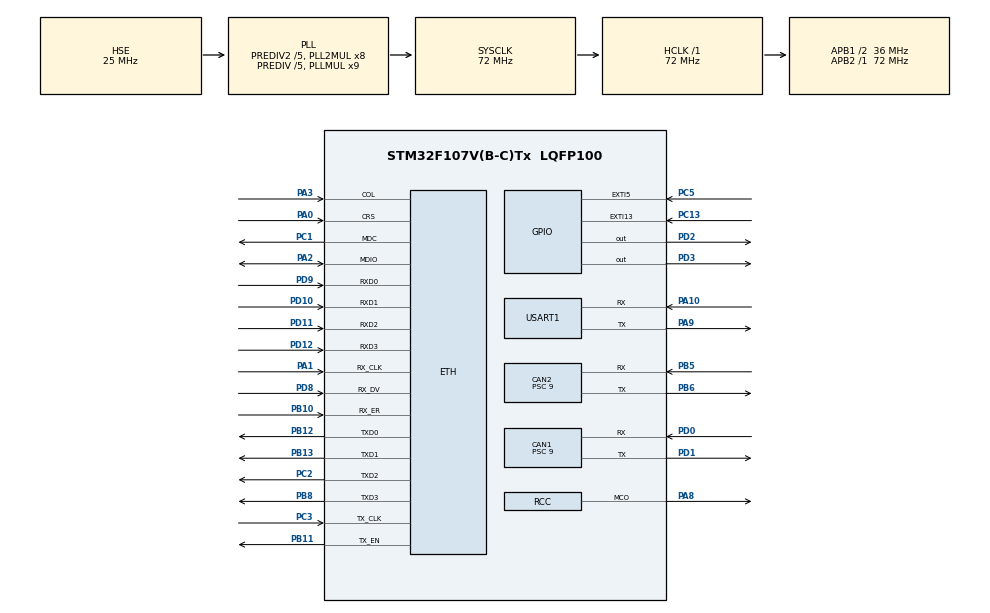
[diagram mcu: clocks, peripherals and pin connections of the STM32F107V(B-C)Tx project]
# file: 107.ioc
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CAN1.BS1=CAN_BS1_3TQ
CAN1.BS2=CAN_BS2_4TQ
CAN1.CalculateTimeBit=2000
CAN1.CalculateTimeQuantum=250.0
CAN1.NART=ENABLE
CAN1.Prescaler=9
CAN2.BS1=CAN_BS1_3TQ
CAN2.BS2=CAN_BS2_4TQ
CAN2.CalculateTimeBit=2000
CAN2.CalculateTimeQuantum=250.0
CAN2.NART=ENABLE
CAN2.Prescaler=9
Dma.Request0=USART1_RX
Dma.Request1=USART1_TX
Dma.USART1_RX.0.Direction=DMA_PERIPH_TO_MEMORY
Dma.USART1_RX.0.Instance=DMA1_Channel5
Dma.USART1_RX.0.MemDataAlignment=DMA_MDATAALIGN_BYTE
Dma.USART1_RX.0.MemInc=DMA_MINC_ENABLE
Dma.USART1_RX.0.Mode=DMA_NORMAL
Dma.USART1_RX.0.PeriphDataAlignment=DMA_PDATAALIGN_BYTE
Dma.USART1_RX.0.PeriphInc=DMA_PINC_DISABLE
Dma.USART1_RX.0.Priority=DMA_PRIORITY_LOW
Dma.USART1_TX.1.Direction=DMA_MEMORY_TO_PERIPH
Dma.USART1_TX.1.Instance=DMA1_Channel4
Dma.USART1_TX.1.MemDataAlignment=DMA_MDATAALIGN_BYTE
Dma.USART1_TX.1.MemInc=DMA_MINC_ENABLE
Dma.USART1_TX.1.Mode=DMA_NORMAL
Dma.USART1_TX.1.PeriphDataAlignment=DMA_PDATAALIGN_BYTE
Dma.USART1_TX.1.PeriphInc=DMA_PINC_DISABLE
Dma.USART1_TX.1.Priority=DMA_PRIORITY_LOW
ETH.MediaInterface=ETH_MEDIA_INTERFACE_MII
ETH.RxMode=ETH_RXPOLLING_MODE
LWIP.GATEWAY_ADDRESS=192.168.001.001
LWIP.IP_ADDRESS=192.168.001.120
LWIP.LWIP_DHCP=0
LWIP.LWIP_NETIF_LINK_CALLBACK=1
LWIP.LWIP_NETIF_LOOPBACK=1
LWIP.LWIP_NETIF_STATUS_CALLBACK=1
LWIP.NETMASK_ADDRESS=255.255.255.000
LWIP.Version=v2.0.0_Cube
Mcu.Family=STM32F1
Mcu.Name=STM32F107V(B-C)Tx
Mcu.Package=LQFP100
NVIC.CAN1_RX0_IRQn=true\:2\:0\:true\:false\:true\:true
NVIC.CAN1_RX1_IRQn=true\:3\:0\:true\:false\:true\:true
NVIC.CAN1_SCE_IRQn=true\:3\:0\:true\:false\:true\:true
NVIC.CAN1_TX_IRQn=true\:2\:0\:true\:false\:true\:true
NVIC.CAN2_RX0_IRQn=true\:0\:0\:false\:false\:true\:true
NVIC.CAN2_RX1_IRQn=true\:0\:0\:false\:false\:true\:true
NVIC.CAN2_SCE_IRQn=true\:0\:0\:false\:false\:true\:true
NVIC.CAN2_TX_IRQn=true\:0\:0\:false\:false\:true\:true
NVIC.DMA1_Channel4_IRQn=true\:6\:0\:true\:false\:true\:false
NVIC.DMA1_Channel5_IRQn=true\:6\:0\:true\:false\:true\:false
NVIC.ETH_IRQn=true\:0\:0\:false\:false\:true\:true
NVIC.ETH_WKUP_IRQn=true\:7\:0\:true\:false\:true\:true
NVIC.EXTI15_10_IRQn=true\:7\:0\:true\:false\:true\:true
NVIC.EXTI9_5_IRQn=true\:7\:0\:true\:false\:true\:true
NVIC.PriorityGroup=NVIC_PRIORITYGROUP_4
NVIC.USART1_IRQn=true\:0\:0\:false\:false\:true\:true
OSC_IN.Mode=HSE-External-Oscillator
OSC_IN.Signal=RCC_OSC_IN
OSC_OUT.Mode=HSE-External-Oscillator
OSC_OUT.Signal=RCC_OSC_OUT
PA0-WKUP.Mode=MII
PA0-WKUP.Signal=ETH_CRS
PA1.Mode=MII
PA1.Signal=ETH_RX_CLK
PA10.Mode=Asynchronous
PA10.Signal=USART1_RX
PA13.Mode=Trace_Asynchronous_SW
PA13.Signal=SYS_JTMS-SWDIO
PA14.Mode=Trace_Asynchronous_SW
PA14.Signal=SYS_JTCK-SWCLK
PA2.Mode=MII
PA2.Signal=ETH_MDIO
PA3.Mode=MII
PA3.Signal=ETH_COL
PA8.Mode=Clock-out
PA8.Signal=RCC_MCO
PA9.Mode=Asynchronous
PA9.Signal=USART1_TX
PB10.Mode=Activate Rx Err signal
PB10.Signal=ETH_RX_ER
PB11.Mode=MII
PB11.Signal=ETH_TX_EN
PB12.Mode=MII
PB12.Signal=ETH_TXD0
PB13.Mode=MII
PB13.Signal=ETH_TXD1
PB3.Mode=Trace_Asynchronous_SW
PB3.Signal=SYS_TRACESWO
PB5.Mode=Slave
PB5.Signal=CAN2_RX
PB6.Mode=Slave
PB6.Signal=CAN2_TX
PB8.Mode=MII
PB8.Signal=ETH_TXD3
PC1.Mode=MII
PC1.Signal=ETH_MDC
PC13-TAMPER-RTC.GPIO_ModeDefaultEXTI=GPIO_MODE_IT_FALLING
PC13-TAMPER-RTC.GPIO_PuPd=GPIO_PULLUP
PC13-TAMPER-RTC.Signal=GPXTI13
PC14-OSC32_IN.Mode=LSE-External-Oscillator
PC14-OSC32_IN.Signal=RCC_OSC32_IN
PC15-OSC32_OUT.Mode=LSE-External-Oscillator
PC15-OSC32_OUT.Signal=RCC_OSC32_OUT
PC2.Mode=MII
PC2.Signal=ETH_TXD2
PC3.Mode=MII
PC3.Signal=ETH_TX_CLK
PC5.Signal=GPXTI5
PD0.Mode=Master
PD0.Signal=CAN1_RX
PD1.Mode=Master
PD1.Signal=CAN1_TX
PD10.Mode=MII
PD10.Signal=ETH_RXD1
PD11.Mode=MII
PD11.Signal=ETH_RXD2
PD12.Mode=MII
PD12.Signal=ETH_RXD3
PD2.Signal=GPIO_Output
PD3.Signal=GPIO_Output
PD8.Mode=MII
PD8.Signal=ETH_RX_DV
PD9.Mode=MII
PD9.Signal=ETH_RXD0
ProjectManager.HeapSize=0x200
ProjectManager.StackSize=0x400
ProjectManager.TargetToolchain=MDK-ARM V5
RCC.AHBFreq_Value=72000000
RCC.APB1CLKDivider=RCC_HCLK_DIV2
RCC.APB1Freq_Value=36000000
RCC.APB1TimFreq_Value=72000000
RCC.APB2Freq_Value=72000000
RCC.APB2TimFreq_Value=72000000
RCC.HCLKFreq_Value=72000000
RCC.HSEDivPLL=RCC_HSE_PREDIV_DIV5
RCC.HSE_VALUE=25000000
RCC.PLL3Mul=RCC_PLLI2S_MUL10
RCC.PLLMUL=RCC_PLL_MUL9
RCC.PLLSourceVirtual=RCC_PLLSOURCE_HSE
RCC.Prediv1Source=RCC_PREDIV1_SOURCE_PLL2
RCC.Prediv2=RCC_HSE_PREDIV2_DIV5
RCC.RCC_MCOMult_Clock_Source_FROM_PLL3MUL=RCC_MCO1SOURCE_PLL3CLK_DIV2
RCC.RCC_MCOSource=RCC_MCO1SOURCE_PLL3CLK_DIV2
RCC.SYSCLKFreq_VALUE=72000000
RCC.SYSCLKSource=RCC_SYSCLKSOURCE_PLLCLK
RCC.USBFreq_Value=48000000
USART1.VirtualMode=VM_ASYNC
VP_LWIP_VS_Enabled.Mode=Enabled
board=custom

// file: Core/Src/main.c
/* USER CODE BEGIN Header */
/**
  ******************************************************************************
  * @file           : main.c
  * @brief          : Main program body
  ******************************************************************************
  ** This notice applies to any and all portions of this file
  * that are not between comment pairs USER CODE BEGIN and
  * USER CODE END. Other portions of this file, whether
  * inserted by the user or by software development tools
  * are owned by their respective copyright owners.
  *
  * COPYRIGHT(c) 2019 STMicroelectronics
  *
  * Redistribution and use in source and binary forms, with or without modification,
  * are permitted provided that the following conditions are met:
  *   1. Redistributions of source code must retain the above copyright notice,
  *      this list of conditions and the following disclaimer.
  *   2. Redistributions in binary form must reproduce the above copyright notice,
  *      this list of conditions and the following disclaimer in the documentation
  *      and/or other materials provided with the distribution.
  *   3. Neither the name of STMicroelectronics nor the names of its contributors
  *      may be used to endorse or promote products derived from this software
  *      without specific prior written permission.
  *
  * THIS SOFTWARE IS PROVIDED BY THE COPYRIGHT HOLDERS AND CONTRIBUTORS "AS IS"
  * AND ANY EXPRESS OR IMPLIED WARRANTIES, INCLUDING, BUT NOT LIMITED TO, THE
  * IMPLIED WARRANTIES OF MERCHANTABILITY AND FITNESS FOR A PARTICULAR PURPOSE ARE
  * DISCLAIMED. IN NO EVENT SHALL THE COPYRIGHT HOLDER OR CONTRIBUTORS BE LIABLE
  * FOR ANY DIRECT, INDIRECT, INCIDENTAL, SPECIAL, EXEMPLARY, OR CONSEQUENTIAL
  * DAMAGES (INCLUDING, BUT NOT LIMITED TO, PROCUREMENT OF SUBSTITUTE GOODS OR
  * SERVICES; LOSS OF USE, DATA, OR PROFITS; OR BUSINESS INTERRUPTION) HOWEVER
  * CAUSED AND ON ANY THEORY OF LIABILITY, WHETHER IN CONTRACT, STRICT LIABILITY,
  * OR TORT (INCLUDING NEGLIGENCE OR OTHERWISE) ARISING IN ANY WAY OUT OF THE USE
  * OF THIS SOFTWARE, EVEN IF ADVISED OF THE POSSIBILITY OF SUCH DAMAGE.
  *
  ******************************************************************************
  */
/* USER CODE END Header */

#include "main.h"
#include "can.h"
#include "dma.h"
#include "lwip.h"
#include "usart.h"
#include "gpio.h"

/* USER CODE BEGIN Includes */
#include "led.h"

#include "stdio.h"
#include "string.h"
#include "tcp_echoserver.h"
/* USER CODE END Includes */

void SystemClock_Config(void);
/* USER CODE BEGIN PFP */
void UserTaskEntry1(void);
/* USER CODE END PFP */

/* USER CODE BEGIN 0 */
static uint8_t txstr[256]={0};
extern struct netif gnetif;

static  char str[128];
volatile uint8_t rx_len = 0;                          //接收数据长度
volatile uint8_t recv_end_flag = 0;                   //接收完成标记位
uint8_t rx_buffer[128] = {0}; //接收数据缓存
int8_t usart1_send_complete_flag = 0;
__align(4) uint8_t rxbuf[100] = {0}, txbuf[100] = {0};
/* USER CODE END 0 */

int main(void)
{

  /* MCU Configuration--------------------------------------------------------*/

  /* Reset of all peripherals, Initializes the Flash interface and the Systick. */
  HAL_Init();

  /* Configure the system clock */
  SystemClock_Config();

  /* Initialize all configured peripherals */
  MX_GPIO_Init();
  MX_DMA_Init();
  MX_LWIP_Init();
  MX_USART1_UART_Init();
  MX_CAN1_Init();
  MX_CAN2_Init();
  /* USER CODE BEGIN 2 */
	usart_rx_init();
UserTaskEntry1();
tcp_echoserver_init();
  /* USER CODE END 2 */

  /* Infinite loop */
  /* USER CODE BEGIN WHILE */
  while (1)
  {
//		MX_LWIP_Process();
    ethernetif_input(&gnetif);
    sys_check_timeouts();

#ifdef USE_DHCP
    /* handle periodic timers for LwIP */
    DHCP_Periodic_Handle(&gnetif);
#endif
    /* USER CODE END WHILE */

  }
}

void SystemClock_Config(void)
{
  RCC_OscInitTypeDef RCC_OscInitStruct = {0};
  RCC_ClkInitTypeDef RCC_ClkInitStruct = {0};

  /**Initializes the CPU, AHB and APB busses clocks
  */
  RCC_OscInitStruct.OscillatorType = RCC_OSCILLATORTYPE_HSE;
  RCC_OscInitStruct.HSEState = RCC_HSE_ON;
  RCC_OscInitStruct.HSEPredivValue = RCC_HSE_PREDIV_DIV5;
  RCC_OscInitStruct.HSIState = RCC_HSI_ON;
  RCC_OscInitStruct.Prediv1Source = RCC_PREDIV1_SOURCE_PLL2;
  RCC_OscInitStruct.PLL.PLLState = RCC_PLL_ON;
  RCC_OscInitStruct.PLL.PLLSource = RCC_PLLSOURCE_HSE;
  RCC_OscInitStruct.PLL.PLLMUL = RCC_PLL_MUL9;
  RCC_OscInitStruct.PLL2.PLL2State = RCC_PLL2_ON;
  RCC_OscInitStruct.PLL2.PLL2MUL = RCC_PLL2_MUL8;
  RCC_OscInitStruct.PLL2.HSEPrediv2Value = RCC_HSE_PREDIV2_DIV5;
  if (HAL_RCC_OscConfig(&RCC_OscInitStruct) != HAL_OK)
  {
    Error_Handler();
  }
  /**Initializes the CPU, AHB and APB busses clocks
  */
  RCC_ClkInitStruct.ClockType = RCC_CLOCKTYPE_HCLK|RCC_CLOCKTYPE_SYSCLK
                              |RCC_CLOCKTYPE_PCLK1|RCC_CLOCKTYPE_PCLK2;
  RCC_ClkInitStruct.SYSCLKSource = RCC_SYSCLKSOURCE_PLLCLK;
  RCC_ClkInitStruct.AHBCLKDivider = RCC_SYSCLK_DIV1;
  RCC_ClkInitStruct.APB1CLKDivider = RCC_HCLK_DIV2;
  RCC_ClkInitStruct.APB2CLKDivider = RCC_HCLK_DIV1;

  if (HAL_RCC_ClockConfig(&RCC_ClkInitStruct, FLASH_LATENCY_2) != HAL_OK)
  {
    Error_Handler();
  }
  HAL_RCC_MCOConfig(RCC_MCO, RCC_MCO1SOURCE_PLL3CLK_DIV2, RCC_MCODIV_1);
  /**Configure the Systick interrupt time
  */
  __HAL_RCC_HSE_PREDIV2_CONFIG(RCC_HSE_PREDIV2_DIV5);
  /**Configure the Systick interrupt time
  */
  __HAL_RCC_PLLI2S_CONFIG(RCC_PLLI2S_MUL10);
  /**Configure the Systick interrupt time
  */
  __HAL_RCC_PLLI2S_ENABLE();
}

/* USER CODE BEGIN 4 */
uint8_t uer_button_step = 0, uer_button_step1 = 0;
void HAL_GPIO_EXTI_Callback(uint16_t GPIO_Pin)
{
    if(GPIO_PIN_4 == GPIO_Pin)
    {
        switch(uer_button_step ++)
        {
            case 0:
                break;
            case 1:
                break;
            default:
                break;
        }
        if(uer_button_step > 1)
        {
            uer_button_step = 1;
        }
        LED1TOG;

    }
    if(GPIO_PIN_13 == GPIO_Pin)
    {
        switch(uer_button_step1 ++)
        {
            case 0:
                break;
            case 1:
                break;
            default:
                break;
        }
        if(uer_button_step1 > 1)
        {
            uer_button_step1 = 1;
        }
        LED2TOG;

    }
}
void UserTaskEntry1(void){
printf("beginning UserTaskEntry1\r\n");
sprintf((char *)txstr,"printf is ok\r\n");
printf("%s",txstr);

     CAN_Config();
    for(uint32_t temp = 0;1; temp++)
    {
        if(uer_button_step >= 1)
        {
            uer_button_step = 0;
            if(TestCanTxMessage() == HAL_OK)
            {
                LED1TOG;
                printf("(TestCanTxMessage() == HAL_OK)\r\n");
//							            DMA_Usart_Send((uint8_t*)str, strlen(str));

            }

        }
    }
}
/* USER CODE END 4 */

void Error_Handler(void)
{
}

/************************ (C) COPYRIGHT STMicroelectronics *****END OF FILE****/
